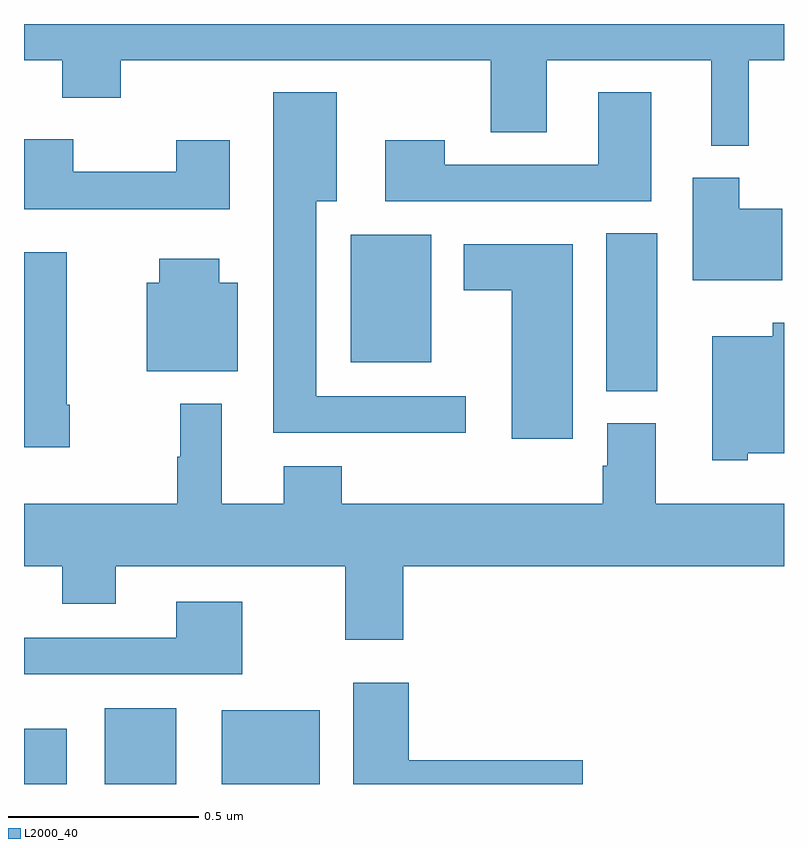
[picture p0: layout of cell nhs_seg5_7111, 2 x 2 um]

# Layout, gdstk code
import gdstk
lib = gdstk.Library(unit=1e-6, precision=1e-09)
def R(c, l, rs):  # rectangles x0, y0, x1, y1
    for r in rs: c.add(gdstk.rectangle(r[:2], r[2:], *l))
def P(c, l, *ps):  # polygons
    for p in ps: c.add(gdstk.Polygon(p, *l))
L2000_40 = (2000, 40)

nhs_seg5_7111 = lib.new_cell('nhs_seg5_7111')
R(nhs_seg5_7111, L2000_40, [(204,910.799,204.112,910.945), (204.212,910.799,204.4,910.999), (204.521,910.799,204.778,910.993), (205.532,911.833,205.666,912.248), (204.86,911.909,205.072,912.244)])
P(nhs_seg5_7111, L2000_40, [(205.907,912.704),(206,912.704),(206,912.799),(204,912.799),(204,912.704),(204.1,912.704),(204.1,912.605),(204.255,912.605),(204.255,912.704),(205.228,912.704),(205.228,912.514),(205.375,912.514),(205.375,912.704),(205.808,912.704),(205.808,912.479),(205.907,912.479)],
  [(205.651,912.619),(205.511,912.619),(205.511,912.429),(205.107,912.429),(205.107,912.493),(204.951,912.493),(204.951,912.333),(205.651,912.333)],
  [(205.162,911.82),(204.769,911.82),(204.769,912.332),(204.823,912.332),(204.823,912.619),(204.656,912.619),(204.656,911.723),(205.162,911.723)],
  [(204.541,912.493),(204.401,912.493),(204.401,912.41),(204.13,912.41),(204.13,912.496),(204,912.496),(204,912.311),(204.541,912.311)],
  [(205.996,912.313),(205.882,912.313),(205.882,912.394),(205.76,912.394),(205.76,912.125),(205.996,912.125)],
  [(205.444,912.22),(205.157,912.22),(205.157,912.098),(205.283,912.098),(205.283,911.708),(205.444,911.708)],
  [(204.12,911.797),(204.112,911.797),(204.112,912.199),(204,912.199),(204,911.685),(204.12,911.685)],
  [(204.562,912.118),(204.514,912.118),(204.514,912.181),(204.356,912.181),(204.356,912.118),(204.323,912.118),(204.323,911.885),(204.562,911.885)],
  [(205.905,911.669),(206,911.669),(206,912.013),(205.97,912.013),(205.97,911.977),(205.811,911.977),(205.811,911.651),(205.905,911.651)],
  [(204.998,911.372),(206,911.372),(206,911.536),(205.663,911.536),(205.663,911.748),(205.535,911.748),(205.535,911.637),(205.523,911.637),(205.523,911.536),(204.836,911.536),(204.836,911.635),(204.683,911.635),(204.683,911.536),(204.52,911.536),(204.52,911.8),(204.411,911.8),(204.411,911.66),(204.403,911.66),(204.403,911.536),(204,911.536),(204,911.372),(204.101,911.372),(204.101,911.273),(204.241,911.273),(204.241,911.372),(204.845,911.372),(204.845,911.178),(204.998,911.178)],
  [(204.574,911.278),(204.401,911.278),(204.401,911.184),(204,911.184),(204,911.088),(204.574,911.088)],
  [(205.471,910.862),(205.013,910.862),(205.013,911.065),(204.866,911.065),(204.866,910.799),(205.471,910.799)])

lib.write_gds('nhs_seg5_7111.gds')
